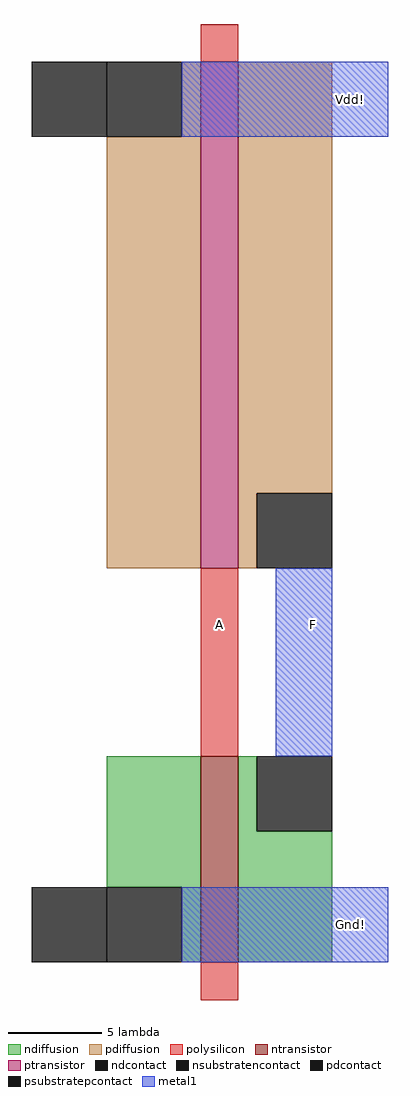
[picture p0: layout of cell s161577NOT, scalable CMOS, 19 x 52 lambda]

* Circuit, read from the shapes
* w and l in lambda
.subckt s161577NOT A F Gnd! Vdd!
M1 F A Gnd! Gnd! nfet w=11 l=2
M2 F A Vdd! Vdd! pfet w=27 l=2
.ends

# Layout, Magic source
magic
tech scmos
<< polysilicon >>
rect -1 28 1 30
rect -1 -9 1 1
rect -1 -22 1 -20
<< ndiffusion >>
rect -6 -16 -1 -9
rect -2 -20 -1 -16
rect 1 -13 2 -9
rect 1 -20 6 -13
<< pdiffusion >>
rect -2 24 -1 28
rect -6 1 -1 24
rect 1 5 6 28
rect 1 1 2 5
<< metal1 >>
rect -2 24 9 28
rect 3 -9 6 1
rect -2 -20 9 -16
<< ntransistor >>
rect -1 -20 1 -9
<< ptransistor >>
rect -1 1 1 28
<< ndcontact >>
rect -6 -20 -2 -16
rect 2 -13 6 -9
<< pdcontact >>
rect -6 24 -2 28
rect 2 1 6 5
<< psubstratepcontact >>
rect -10 -20 -6 -16
<< nsubstratencontact >>
rect -10 24 -6 28
<< labels >>
rlabel metal1 7 -18 7 -18 7 Gnd!
rlabel polysilicon 0 -2 0 -2 1 A
rlabel metal1 5 -2 5 -2 7 F
rlabel metal1 7 26 7 26 6 Vdd!
<< end >>
